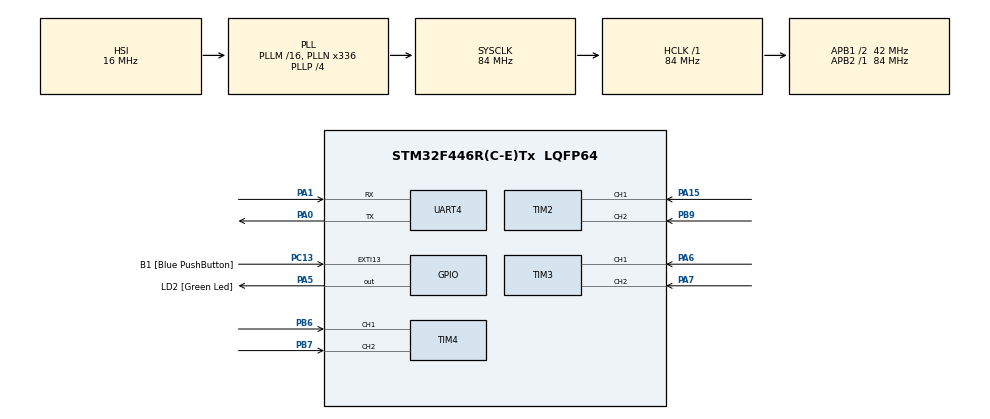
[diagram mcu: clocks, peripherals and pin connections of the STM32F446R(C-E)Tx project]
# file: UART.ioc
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Mcu.Family=STM32F4
Mcu.Name=STM32F446R(C-E)Tx
Mcu.Package=LQFP64
NVIC.PriorityGroup=NVIC_PRIORITYGROUP_0
NVIC.TIM2_IRQn=true\:0\:0\:false\:false\:true\:true\:true\:true
NVIC.TIM3_IRQn=true\:0\:0\:false\:false\:true\:true\:true\:true
PA0-WKUP.Mode=Asynchronous
PA0-WKUP.Signal=UART4_TX
PA1.Mode=Asynchronous
PA1.Signal=UART4_RX
PA13.GPIO_Label=TMS
PA13.Mode=Serial_Wire
PA13.Signal=SYS_JTMS-SWDIO
PA14.GPIO_Label=TCK
PA14.Mode=Serial_Wire
PA14.Signal=SYS_JTCK-SWCLK
PA15.GPIO_PuPd=GPIO_PULLUP
PA15.Signal=S_TIM2_CH1_ETR
PA5.GPIO_Label=LD2 [Green Led]
PA5.Signal=GPIO_Output
PA6.GPIO_PuPd=GPIO_PULLUP
PA6.Signal=S_TIM3_CH1
PA7.GPIO_PuPd=GPIO_PULLUP
PA7.Signal=S_TIM3_CH2
PB3.GPIO_Label=SWO
PB3.Signal=SYS_JTDO-SWO
PB6.Signal=S_TIM4_CH1
PB7.Signal=S_TIM4_CH2
PB9.GPIO_PuPd=GPIO_PULLUP
PB9.Signal=S_TIM2_CH2
PC13.GPIO_Label=B1 [Blue PushButton]
PC13.GPIO_ModeDefaultEXTI=GPIO_MODE_IT_FALLING
PC13.Signal=GPXTI13
PC14-OSC32_IN.Mode=LSE-External-Oscillator
PC14-OSC32_IN.Signal=RCC_OSC32_IN
PC15-OSC32_OUT.Mode=LSE-External-Oscillator
PC15-OSC32_OUT.Signal=RCC_OSC32_OUT
PH0-OSC_IN.Mode=HSE-External-Oscillator
PH0-OSC_IN.Signal=RCC_OSC_IN
PH1-OSC_OUT.Mode=HSE-External-Oscillator
PH1-OSC_OUT.Signal=RCC_OSC_OUT
ProjectManager.HeapSize=0x200
ProjectManager.StackSize=0x400
ProjectManager.TargetToolchain=STM32CubeIDE
RCC.48MHZClocksFreq_Value=84000000
RCC.AHBFreq_Value=84000000
RCC.APB1CLKDivider=RCC_HCLK_DIV2
RCC.APB1Freq_Value=42000000
RCC.APB1TimFreq_Value=84000000
RCC.APB2Freq_Value=84000000
RCC.APB2TimFreq_Value=84000000
RCC.CortexFreq_Value=84000000
RCC.FLatency-AdvancedSettings=FLASH_LATENCY_2
RCC.HCLKFreq_Value=84000000
RCC.HSE_VALUE=8000000
RCC.HSI_VALUE=16000000
RCC.PLLN=336
RCC.PLLP=RCC_PLLP_DIV4
RCC.SYSCLKFreq_VALUE=84000000
RCC.SYSCLKSource=RCC_SYSCLKSOURCE_PLLCLK
RCC.USBFreq_Value=168000000
RCC.VCOOutputFreq_Value=336000000
SH.S_TIM2_CH1_ETR.0=TIM2_CH1,Encoder_Interface
SH.S_TIM2_CH2.0=TIM2_CH2,Encoder_Interface
SH.S_TIM3_CH1.0=TIM3_CH1,Encoder_Interface
SH.S_TIM3_CH2.0=TIM3_CH2,Encoder_Interface
SH.S_TIM4_CH1.0=TIM4_CH1,Encoder_Interface
SH.S_TIM4_CH2.0=TIM4_CH2,Encoder_Interface
TIM2.EncoderMode=TIM_ENCODERMODE_TI12
TIM2.IC1Filter=5
TIM2.IC2Filter=5
TIM3.EncoderMode=TIM_ENCODERMODE_TI12
TIM3.IC1Filter=5
TIM3.IC2Filter=5
UART4.VirtualMode=Asynchronous
board=NUCLEO-F446RE

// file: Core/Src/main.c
/* USER CODE BEGIN Header */
/* USER CODE END Header */
#include "main.h"

#include<stdio.h>
#include<inttypes.h>

#include <stdbool.h>

/* USER CODE BEGIN PD */
uint8_t rxbuff[16];

int slow=75;

int fast=400;

int Buff1=60;

int Buff2=-60;

int BuffP=80;

int BuffN=-80;

int32_t lx, ly, rx, ry, cro, squ, tri, cir, up, down, left, right, ll1, rr1, ll2, rr2;
/* Private typedef -----------------------------------------------------------*/
/* USER CODE BEGIN PTD */
/* USER CODE END PTD */

/* Private define ------------------------------------------------------------*/
/* USER CODE BEGIN PD */
/* USER CODE END PD */

TIM_HandleTypeDef htim2;
TIM_HandleTypeDef htim3;
TIM_HandleTypeDef htim4;

UART_HandleTypeDef huart4;

void SystemClock_Config(void);
static void MX_GPIO_Init(void);
static void MX_UART4_Init(void);
static void MX_TIM2_Init(void);
static void MX_TIM3_Init(void);
static void MX_TIM4_Init(void);

int main(void)
{

  /* MCU Configuration--------------------------------------------------------*/

  /* Reset of all peripherals, Initializes the Flash interface and the Systick. */
  HAL_Init();

  /* Configure the system clock */
  SystemClock_Config();

  /* Initialize all configured peripherals */
  MX_GPIO_Init();
  MX_UART4_Init();
  MX_TIM2_Init();
  MX_TIM3_Init();
  MX_TIM4_Init();

  /* Infinite loop */

    /* USER CODE BEGIN 3 */
  while(1)
  {
	  HAL_StatusTypeDef status;
    	  status=HAL_UART_Receive(&huart4, rxbuff,64,1000);
    	  if (status == HAL_OK)
    	  {
    		  	  	  	  // Convert the received bytes to signed integers
    	  	  	 	 	   lx = (rxbuff[0] & 0x80) ? (int32_t)rxbuff[0] - 256 : (int32_t)rxbuff[0];
    	  	  	 	 	   ly = (rxbuff[1] & 0x80) ? (int32_t)rxbuff[1] - 256 : (int32_t)rxbuff[1];
    	  	  	 	 	   rx = (rxbuff[2] & 0x80) ? (int32_t)rxbuff[2] - 256 : (int32_t)rxbuff[2];
    	  	  	 	 	   ry = (rxbuff[3] & 0x80) ? (int32_t)rxbuff[3] - 256 : (int32_t)rxbuff[3];
    	  	  	 	 	   cro= (rxbuff[4] & 0x80) ? (int32_t)rxbuff[4] - 256 : (int32_t)rxbuff[4];
    	  	  	 	 	   squ= (rxbuff[5] & 0x80) ? (int32_t)rxbuff[5] - 256 : (int32_t)rxbuff[5];
    	  	  	 	 	   tri= (rxbuff[6] & 0x80) ? (int32_t)rxbuff[6] - 256 : (int32_t)rxbuff[6];
    	  	  	 	 	   cir= (rxbuff[7] & 0x80) ? (int32_t)rxbuff[7] - 256 : (int32_t)rxbuff[7];
    	  	  	 	 	   up= (rxbuff[8] & 0x80) ? (int32_t)rxbuff[8] - 256 : (int32_t)rxbuff[8];
    	  	  	 	 	   down= (rxbuff[9] & 0x80) ? (int32_t)rxbuff[9] - 256 : (int32_t)rxbuff[9];
    	  	  	 	 	   left= (rxbuff[10] & 0x80) ? (int32_t)rxbuff[10] - 256 : (int32_t)rxbuff[10];
    	  	  	 	 	   right=(rxbuff[11] & 0x80) ? (int32_t)rxbuff[11] - 256 : (int32_t)rxbuff[11];
    	  	  	 	 	   ll1= (rxbuff[12] & 0x80) ? (int32_t)rxbuff[12] - 256 : (int32_t)rxbuff[12];
    	  	  	 	 	   ll2= (rxbuff[13] & 0x80) ? (int32_t)rxbuff[13] - 256 : (int32_t)rxbuff[13];
    	  	  	 	 	   rr1= (rxbuff[14] & 0x80) ? (int32_t)rxbuff[14] - 256 : (int32_t)rxbuff[14];
    	  	  	 	 	   rr2= (rxbuff[15] & 0x80) ? (int32_t)rxbuff[15] - 256 : (int32_t)rxbuff[15];
    	  	  	 	 	   // Print the received values
    	  	  	 	 	printf("Received Integers: %ld %ld %ld %ld %ld %ld %ld %ld\r\n", lx, ly, rx, ry, cro, squ, tri, cir);
    	  }
    	  else
    	  {
    		  ry = 0;
    	  	  rx = 0;
    	  	  lx = 0;
    	  	  ly = 0;
    	  	  cro = 0;
    	  	  squ = 0;
    	  	  tri = 0;
    	  	  cir = 0;
    	  	  up = 0;
    	  	  down = 0;
    	  	  left = 0;
    	  	  right = 0;
    	  	  ll1=0;
    	  	  ll2=0;
    	  	  rr1=0;
    	  	  rr2=0;
    	  	printf("Received Integers: %ld %ld %ld %ld %ld %ld %ld %ld\r\n", lx, ly, rx, ry, cro, squ, tri, cir);
    	  }
      }
  /* Infinite loop */
  /* USER CODE BEGIN WHILE */
    /* USER CODE END WHILE */

    /* USER CODE BEGIN 3 */
  /* USER CODE END 3 */
}

void SystemClock_Config(void)
{
  RCC_OscInitTypeDef RCC_OscInitStruct = {0};
  RCC_ClkInitTypeDef RCC_ClkInitStruct = {0};

  /** Configure the main internal regulator output voltage
  */
  __HAL_RCC_PWR_CLK_ENABLE();
  __HAL_PWR_VOLTAGESCALING_CONFIG(PWR_REGULATOR_VOLTAGE_SCALE3);

  /** Initializes the RCC Oscillators according to the specified parameters
  * in the RCC_OscInitTypeDef structure.
  */
  RCC_OscInitStruct.OscillatorType = RCC_OSCILLATORTYPE_HSI;
  RCC_OscInitStruct.HSIState = RCC_HSI_ON;
  RCC_OscInitStruct.HSICalibrationValue = RCC_HSICALIBRATION_DEFAULT;
  RCC_OscInitStruct.PLL.PLLState = RCC_PLL_ON;
  RCC_OscInitStruct.PLL.PLLSource = RCC_PLLSOURCE_HSI;
  RCC_OscInitStruct.PLL.PLLM = 16;
  RCC_OscInitStruct.PLL.PLLN = 336;
  RCC_OscInitStruct.PLL.PLLP = RCC_PLLP_DIV4;
  RCC_OscInitStruct.PLL.PLLQ = 2;
  RCC_OscInitStruct.PLL.PLLR = 2;
  if (HAL_RCC_OscConfig(&RCC_OscInitStruct) != HAL_OK)
  {
    Error_Handler();
  }

  /** Initializes the CPU, AHB and APB buses clocks
  */
  RCC_ClkInitStruct.ClockType = RCC_CLOCKTYPE_HCLK|RCC_CLOCKTYPE_SYSCLK
                              |RCC_CLOCKTYPE_PCLK1|RCC_CLOCKTYPE_PCLK2;
  RCC_ClkInitStruct.SYSCLKSource = RCC_SYSCLKSOURCE_PLLCLK;
  RCC_ClkInitStruct.AHBCLKDivider = RCC_SYSCLK_DIV1;
  RCC_ClkInitStruct.APB1CLKDivider = RCC_HCLK_DIV2;
  RCC_ClkInitStruct.APB2CLKDivider = RCC_HCLK_DIV1;

  if (HAL_RCC_ClockConfig(&RCC_ClkInitStruct, FLASH_LATENCY_2) != HAL_OK)
  {
    Error_Handler();
  }
}

static void MX_TIM2_Init(void)
{

  TIM_Encoder_InitTypeDef sConfig = {0};
  TIM_MasterConfigTypeDef sMasterConfig = {0};

  htim2.Instance = TIM2;
  htim2.Init.Prescaler = 0;
  htim2.Init.CounterMode = TIM_COUNTERMODE_UP;
  htim2.Init.Period = 4294967295;
  htim2.Init.ClockDivision = TIM_CLOCKDIVISION_DIV1;
  htim2.Init.AutoReloadPreload = TIM_AUTORELOAD_PRELOAD_DISABLE;
  sConfig.EncoderMode = TIM_ENCODERMODE_TI12;
  sConfig.IC1Polarity = TIM_ICPOLARITY_RISING;
  sConfig.IC1Selection = TIM_ICSELECTION_DIRECTTI;
  sConfig.IC1Prescaler = TIM_ICPSC_DIV1;
  sConfig.IC1Filter = 5;
  sConfig.IC2Polarity = TIM_ICPOLARITY_RISING;
  sConfig.IC2Selection = TIM_ICSELECTION_DIRECTTI;
  sConfig.IC2Prescaler = TIM_ICPSC_DIV1;
  sConfig.IC2Filter = 5;
  if (HAL_TIM_Encoder_Init(&htim2, &sConfig) != HAL_OK)
  {
    Error_Handler();
  }
  sMasterConfig.MasterOutputTrigger = TIM_TRGO_RESET;
  sMasterConfig.MasterSlaveMode = TIM_MASTERSLAVEMODE_DISABLE;
  if (HAL_TIMEx_MasterConfigSynchronization(&htim2, &sMasterConfig) != HAL_OK)
  {
    Error_Handler();
  }

}

static void MX_TIM3_Init(void)
{

  TIM_Encoder_InitTypeDef sConfig = {0};
  TIM_MasterConfigTypeDef sMasterConfig = {0};

  htim3.Instance = TIM3;
  htim3.Init.Prescaler = 0;
  htim3.Init.CounterMode = TIM_COUNTERMODE_UP;
  htim3.Init.Period = 65535;
  htim3.Init.ClockDivision = TIM_CLOCKDIVISION_DIV1;
  htim3.Init.AutoReloadPreload = TIM_AUTORELOAD_PRELOAD_DISABLE;
  sConfig.EncoderMode = TIM_ENCODERMODE_TI12;
  sConfig.IC1Polarity = TIM_ICPOLARITY_RISING;
  sConfig.IC1Selection = TIM_ICSELECTION_DIRECTTI;
  sConfig.IC1Prescaler = TIM_ICPSC_DIV1;
  sConfig.IC1Filter = 5;
  sConfig.IC2Polarity = TIM_ICPOLARITY_RISING;
  sConfig.IC2Selection = TIM_ICSELECTION_DIRECTTI;
  sConfig.IC2Prescaler = TIM_ICPSC_DIV1;
  sConfig.IC2Filter = 5;
  if (HAL_TIM_Encoder_Init(&htim3, &sConfig) != HAL_OK)
  {
    Error_Handler();
  }
  sMasterConfig.MasterOutputTrigger = TIM_TRGO_RESET;
  sMasterConfig.MasterSlaveMode = TIM_MASTERSLAVEMODE_DISABLE;
  if (HAL_TIMEx_MasterConfigSynchronization(&htim3, &sMasterConfig) != HAL_OK)
  {
    Error_Handler();
  }

}

static void MX_TIM4_Init(void)
{

  TIM_Encoder_InitTypeDef sConfig = {0};
  TIM_MasterConfigTypeDef sMasterConfig = {0};

  htim4.Instance = TIM4;
  htim4.Init.Prescaler = 0;
  htim4.Init.CounterMode = TIM_COUNTERMODE_UP;
  htim4.Init.Period = 65535;
  htim4.Init.ClockDivision = TIM_CLOCKDIVISION_DIV1;
  htim4.Init.AutoReloadPreload = TIM_AUTORELOAD_PRELOAD_DISABLE;
  sConfig.EncoderMode = TIM_ENCODERMODE_TI1;
  sConfig.IC1Polarity = TIM_ICPOLARITY_RISING;
  sConfig.IC1Selection = TIM_ICSELECTION_DIRECTTI;
  sConfig.IC1Prescaler = TIM_ICPSC_DIV1;
  sConfig.IC1Filter = 0;
  sConfig.IC2Polarity = TIM_ICPOLARITY_RISING;
  sConfig.IC2Selection = TIM_ICSELECTION_DIRECTTI;
  sConfig.IC2Prescaler = TIM_ICPSC_DIV1;
  sConfig.IC2Filter = 0;
  if (HAL_TIM_Encoder_Init(&htim4, &sConfig) != HAL_OK)
  {
    Error_Handler();
  }
  sMasterConfig.MasterOutputTrigger = TIM_TRGO_RESET;
  sMasterConfig.MasterSlaveMode = TIM_MASTERSLAVEMODE_DISABLE;
  if (HAL_TIMEx_MasterConfigSynchronization(&htim4, &sMasterConfig) != HAL_OK)
  {
    Error_Handler();
  }

}

static void MX_UART4_Init(void)
{

  huart4.Instance = UART4;
  huart4.Init.BaudRate = 115200;
  huart4.Init.WordLength = UART_WORDLENGTH_8B;
  huart4.Init.StopBits = UART_STOPBITS_1;
  huart4.Init.Parity = UART_PARITY_NONE;
  huart4.Init.Mode = UART_MODE_TX_RX;
  huart4.Init.HwFlowCtl = UART_HWCONTROL_NONE;
  huart4.Init.OverSampling = UART_OVERSAMPLING_16;
  if (HAL_UART_Init(&huart4) != HAL_OK)
  {
    Error_Handler();
  }

}

static void MX_GPIO_Init(void)
{
  GPIO_InitTypeDef GPIO_InitStruct = {0};

  /* GPIO Ports Clock Enable */
  __HAL_RCC_GPIOC_CLK_ENABLE();
  __HAL_RCC_GPIOH_CLK_ENABLE();
  __HAL_RCC_GPIOA_CLK_ENABLE();
  __HAL_RCC_GPIOB_CLK_ENABLE();

  /*Configure GPIO pin Output Level */
  HAL_GPIO_WritePin(LD2_GPIO_Port, LD2_Pin, GPIO_PIN_RESET);

  /*Configure GPIO pin : B1_Pin */
  GPIO_InitStruct.Pin = B1_Pin;
  GPIO_InitStruct.Mode = GPIO_MODE_IT_FALLING;
  GPIO_InitStruct.Pull = GPIO_NOPULL;
  HAL_GPIO_Init(B1_GPIO_Port, &GPIO_InitStruct);

  /*Configure GPIO pin : LD2_Pin */
  GPIO_InitStruct.Pin = LD2_Pin;
  GPIO_InitStruct.Mode = GPIO_MODE_OUTPUT_PP;
  GPIO_InitStruct.Pull = GPIO_NOPULL;
  GPIO_InitStruct.Speed = GPIO_SPEED_FREQ_LOW;
  HAL_GPIO_Init(LD2_GPIO_Port, &GPIO_InitStruct);

}

void Error_Handler(void)
{
}
